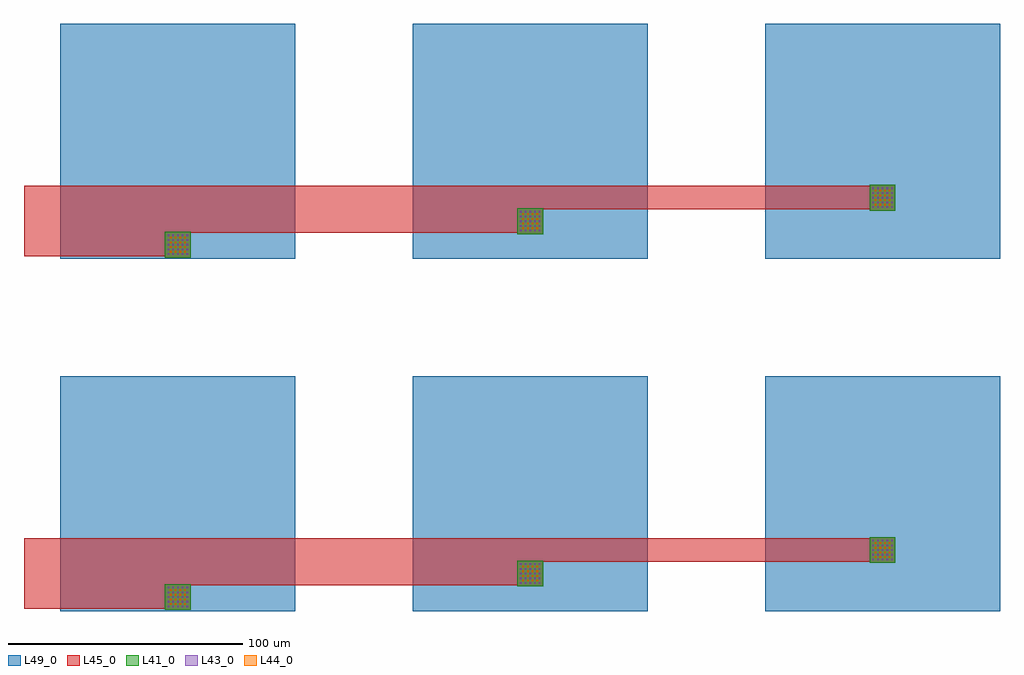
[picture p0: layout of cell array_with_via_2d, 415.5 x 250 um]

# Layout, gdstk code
import gdstk
lib = gdstk.Library(unit=1e-6, precision=1e-09)
def R(c, l, rs):  # rectangles x0, y0, x1, y1
    for r in rs: c.add(gdstk.rectangle(r[:2], r[2:], *l))
L41_0 = (41, 0)
L43_0 = (43, 0)
L44_0 = (44, 0)
L45_0 = (45, 0)
L49_0 = (49, 0)

rectangle_layer49_0_size = lib.new_cell('rectangle_layer49_0_size100_100')
R(rectangle_layer49_0_size, L49_0, [(0,0,100,100)])

compass_layer49_0_size10 = lib.new_cell('compass_layer49_0_size100_100')
compass_layer49_0_size10.add(gdstk.Reference(rectangle_layer49_0_size, (-50,-50)))

pad = lib.new_cell('pad')
pad.add(gdstk.Reference(compass_layer49_0_size10, (0,0)))

rectangle_layer41_0_size = lib.new_cell('rectangle_layer41_0_size11_11')
R(rectangle_layer41_0_size, L41_0, [(0,0,11,11)])

compass_layer41_0_size11 = lib.new_cell('compass_layer41_0_size11_11')
compass_layer41_0_size11.add(gdstk.Reference(rectangle_layer41_0_size, (-5.5,-5.5)))

rectangle_layer45_0_size = lib.new_cell('rectangle_layer45_0_size11_11')
R(rectangle_layer45_0_size, L45_0, [(0,0,11,11)])

compass_layer45_0_size11 = lib.new_cell('compass_layer45_0_size11_11')
compass_layer45_0_size11.add(gdstk.Reference(rectangle_layer45_0_size, (-5.5,-5.5)))

c_rectangle_layer49_0_size = lib.new_cell('rectangle_layer49_0_size11_11')
R(c_rectangle_layer49_0_size, L49_0, [(0,0,11,11)])

compass_layer49_0_size11 = lib.new_cell('compass_layer49_0_size11_11')
compass_layer49_0_size11.add(gdstk.Reference(c_rectangle_layer49_0_size, (-5.5,-5.5)))

via_enclosure2_layer44_0 = lib.new_cell('via_enclosure2_layer44_0')
R(via_enclosure2_layer44_0, L44_0, [(-0.35,-0.35,0.35,0.35)])

via_layer43_0 = lib.new_cell('via_layer43_0')
R(via_layer43_0, L43_0, [(-0.35,-0.35,0.35,0.35)])

via_stack = lib.new_cell('via_stack')
via_stack.add(gdstk.Reference(compass_layer41_0_size11, (0,0)))
via_stack.add(gdstk.Reference(compass_layer45_0_size11, (0,0)))
via_stack.add(gdstk.Reference(compass_layer49_0_size11, (0,0)))
r = gdstk.Reference(via_enclosure2_layer44_0, (-3,-3)); r.repetition = gdstk.Repetition(4, 4, v1=(2,0), v2=(0,2)); via_stack.add(r)
r = gdstk.Reference(via_layer43_0, (-4,-4)); r.repetition = gdstk.Repetition(5, 5, v1=(2,0), v2=(0,2)); via_stack.add(r)

straight_cross_sectionc_ = lib.new_cell('straight_cross_sectionc_3bbe02d1')
R(straight_cross_sectionc_, L45_0, [(0,-5,60,5)])

c_straight_cross_sectionc_ = lib.new_cell('straight_cross_sectionc_ed5554c9')
R(c_straight_cross_sectionc_, L45_0, [(0,-5,210,5)])

c_straight_cross_sectionc__ = lib.new_cell('straight_cross_sectionc_1b795cbf')
R(c_straight_cross_sectionc__, L45_0, [(0,-5,360,5)])

array_with_via_n3_pitch1 = lib.new_cell('array_with_via_n3_pitch150')
array_with_via_n3_pitch1.add(gdstk.Reference(pad, (0,0)))
array_with_via_n3_pitch1.add(gdstk.Reference(via_stack, (0,-44)))
array_with_via_n3_pitch1.add(gdstk.Reference(straight_cross_sectionc_, (-65.5,-44)))
array_with_via_n3_pitch1.add(gdstk.Reference(pad, (150,0)))
array_with_via_n3_pitch1.add(gdstk.Reference(via_stack, (150,-34)))
array_with_via_n3_pitch1.add(gdstk.Reference(c_straight_cross_sectionc_, (-65.5,-34)))
array_with_via_n3_pitch1.add(gdstk.Reference(pad, (300,0)))
array_with_via_n3_pitch1.add(gdstk.Reference(via_stack, (300,-24)))
array_with_via_n3_pitch1.add(gdstk.Reference(c_straight_cross_sectionc__, (-65.5,-24)))

array_with_via_2d = lib.new_cell('array_with_via_2d')
r = gdstk.Reference(array_with_via_n3_pitch1, (0,0)); r.repetition = gdstk.Repetition(6, 2, v1=(0,0), v2=(0,150)); array_with_via_2d.add(r)

lib.write_gds('array_with_via_2d.gds')
